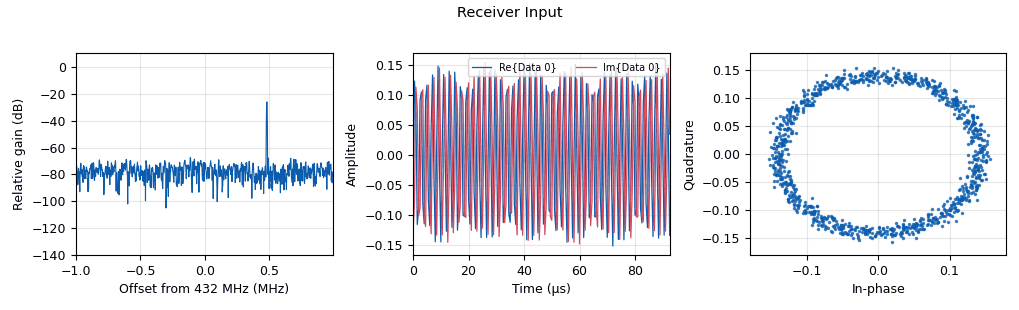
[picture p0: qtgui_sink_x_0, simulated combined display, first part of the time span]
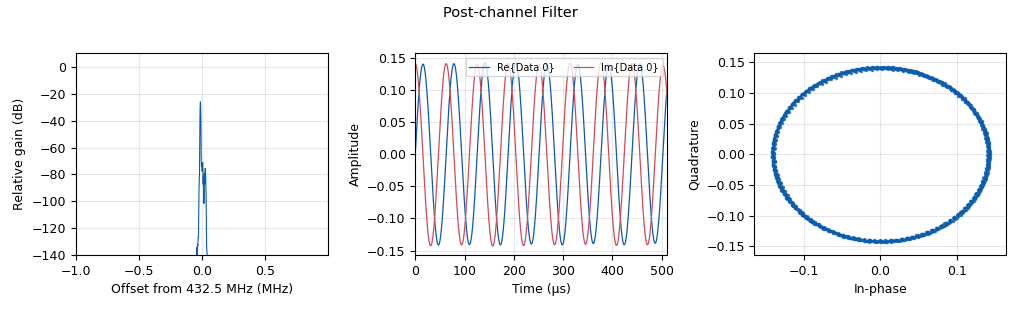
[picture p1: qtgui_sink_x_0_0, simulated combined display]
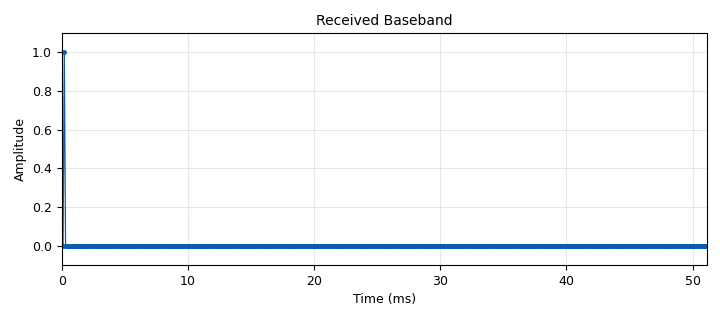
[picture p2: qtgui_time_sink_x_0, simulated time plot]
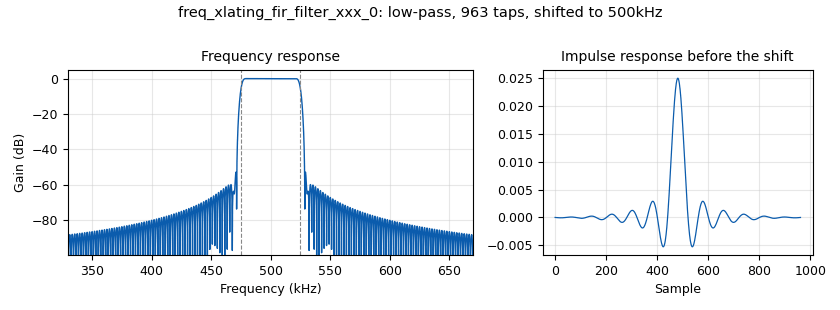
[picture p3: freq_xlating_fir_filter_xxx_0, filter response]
options:
  parameters:
    category: Custom
    generate_options: qt_gui
    id: top_block
    output_language: python
  states: {}

blocks:
- name: center_freq
  id: variable
  parameters:
    value: 432e6
  states: {}
- name: channel_width
  id: variable
  parameters:
    value: 50e3
  states: {}
- name: freq
  id: variable_qtgui_entry
  parameters:
    type: real
    value: 432.5e6
  states: {}
- name: msg_str
  id: variable
  parameters:
    value: '"It works!"'
  states: {}
- name: noise
  id: variable_qtgui_entry
  parameters:
    type: real
    value: '0.01'
  states: {}
- name: samp_rate
  id: variable
  parameters:
    value: 2e6
  states: {}
- name: samples_per_symbol
  id: variable
  parameters:
    value: int(samp_rate/symbol_rate)
  states: {}
- name: sensitivity
  id: variable_qtgui_entry
  parameters:
    type: real
    value: '0.05'
  states: {}
- name: squelch
  id: variable_qtgui_entry
  parameters:
    type: real
    value: '-55'
  states: {}
- name: symbol_rate
  id: variable
  parameters:
    value: 1/100e-6
  states: {}
- name: taps
  id: variable
  parameters:
    value: firdes.low_pass(1, samp_rate, channel_width/2, channel_width/10)
  states: {}
- name: analog_pwr_squelch_xx_0
  id: analog_pwr_squelch_xx
  parameters:
    alpha: '1'
    gate: 'False'
    ramp: '0'
    threshold: squelch
    type: complex
  states: {}
- name: analog_sig_source_x_0
  id: analog_sig_source_x
  parameters:
    amp: '0.1'
    freq: freq-center_freq
    offset: '0'
    phase: '0'
    samp_rate: samp_rate
    type: complex
    waveform: analog.GR_COS_WAVE
  states: {}
- name: blocks_multiply_xx_0
  id: blocks_multiply_xx
  parameters:
    type: complex
  states: {}
- name: blocks_throttle_0
  id: blocks_throttle
  parameters:
    samples_per_second: samp_rate
    type: complex
  states: {}
- name: blocks_uchar_to_float_0
  id: blocks_uchar_to_float
  parameters: {}
  states: {}
- name: blocks_vector_source_x_0_0
  id: blocks_vector_source_x
  parameters:
    repeat: 'True'
    type: byte
    vector: '[0xAA, 0xAA]+list(ord(i) for i in msg_str)+1000*[0,]'
  states: {}
- name: channels_channel_model_0
  id: channels_channel_model
  parameters:
    epsilon: '1.0'
    freq_offset: '0.0'
    noise_voltage: noise
    seed: '0'
    taps: 1.0 + 1.0j
  states: {}
- name: digital_gfsk_demod_0
  id: digital_gfsk_demod
  parameters:
    freq_error: '0.0'
    gain_mu: '0.175'
    mu: '0.5'
    omega_relative_limit: '0.005'
    samples_per_symbol: samples_per_symbol
    sensitivity: sensitivity
    verbose: 'True'
  states: {}
- name: digital_gfsk_mod_0
  id: digital_gfsk_mod
  parameters:
    bt: '0.35'
    samples_per_symbol: samples_per_symbol
    sensitivity: sensitivity
  states: {}
- name: freq_xlating_fir_filter_xxx_0
  id: freq_xlating_fir_filter_xxx
  parameters:
    center_freq: freq-center_freq
    decim: '1'
    samp_rate: samp_rate
    taps: taps
    type: ccc
  states: {}
- name: note_0
  id: note
  parameters:
    comment: |-
      This grc file is a proof-of-concept
      simulation used as a first step in
      building the gfsk_tx and gfsk_rx
      hardware-based flowgraphs.
  states: {}
- name: qtgui_sink_x_0
  id: qtgui_sink_x
  parameters:
    bw: samp_rate
    fc: center_freq
    fftsize: '1024'
    name: '"Receiver Input"'
    showports: 'True'
    showrf: 'True'
    type: complex
    wintype: firdes.WIN_BLACKMAN_hARRIS
  states: {}
- name: qtgui_sink_x_0_0
  id: qtgui_sink_x
  parameters:
    bw: samp_rate
    fc: freq
    fftsize: '1024'
    name: '"Post-channel Filter"'
    showports: 'True'
    showrf: 'True'
    type: complex
    wintype: firdes.WIN_BLACKMAN_hARRIS
  states: {}
- name: qtgui_time_sink_x_0
  id: qtgui_time_sink_x
  parameters:
    label1: ''
    marker1: '0'
    name: '"Received Baseband"'
    size: '512'
    srate: symbol_rate
    tr_delay: '1e-4'
    tr_level: '0.5'
    tr_mode: qtgui.TRIG_MODE_AUTO
    type: float
    ymax: '1.1'
    ymin: '-0.1'
  states: {}
- name: reveng_message_print_0
  id: reveng_message_print
  parameters:
    display_ascii: '2'
  states: {}
- name: satellites_sync_to_pdu_packed_0
  id: satellites_sync_to_pdu_packed
  parameters:
    packlen: len(msg_str)
    sync: '"1010101010101010"'
    threshold: '0'
  states: {}
- name: virtual_sink_0
  id: virtual_sink
  parameters:
    stream_id: signal_sent
  states: {}
- name: virtual_source_0
  id: virtual_source
  parameters:
    stream_id: signal_sent
  states: {}

connections:
- [analog_pwr_squelch_xx_0, '0', freq_xlating_fir_filter_xxx_0, '0']
- [analog_pwr_squelch_xx_0, '0', qtgui_sink_x_0, '0']
- [analog_sig_source_x_0, '0', blocks_multiply_xx_0, '1']
- [blocks_multiply_xx_0, '0', channels_channel_model_0, '0']
- [blocks_throttle_0, '0', virtual_sink_0, '0']
- [blocks_uchar_to_float_0, '0', qtgui_time_sink_x_0, '0']
- [blocks_vector_source_x_0_0, '0', digital_gfsk_mod_0, '0']
- [channels_channel_model_0, '0', blocks_throttle_0, '0']
- [digital_gfsk_demod_0, '0', blocks_uchar_to_float_0, '0']
- [digital_gfsk_demod_0, '0', satellites_sync_to_pdu_packed_0, '0']
- [digital_gfsk_mod_0, '0', blocks_multiply_xx_0, '0']
- [freq_xlating_fir_filter_xxx_0, '0', digital_gfsk_demod_0, '0']
- [freq_xlating_fir_filter_xxx_0, '0', qtgui_sink_x_0_0, '0']
- [satellites_sync_to_pdu_packed_0, out, reveng_message_print_0, msg_in]
- [virtual_source_0, '0', analog_pwr_squelch_xx_0, '0']

metadata:
  file_format: 1
